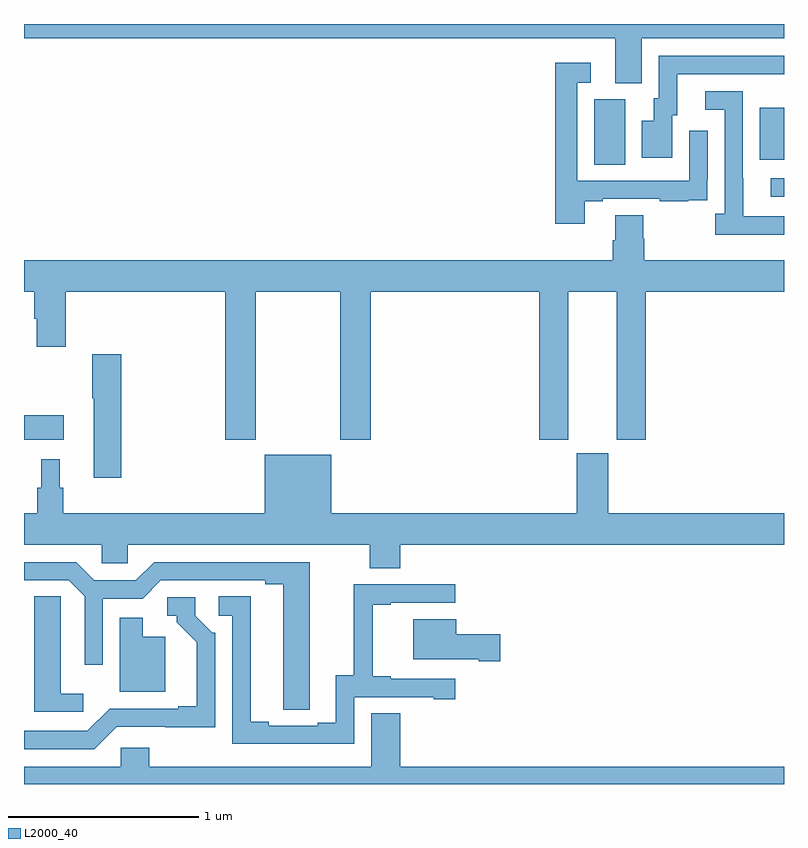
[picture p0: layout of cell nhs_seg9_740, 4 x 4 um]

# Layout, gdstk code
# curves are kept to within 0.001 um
import gdstk
lib = gdstk.Library(unit=1e-6, precision=1e-09)
def R(c, l, rs):  # rectangles x0, y0, x1, y1
    for r in rs: c.add(gdstk.rectangle(r[:2], r[2:], *l))
def P(c, l, *ps):  # polygons
    for p in ps: c.add(gdstk.Polygon(p, *l))
L2000_40 = (2000, 40)

nhs_seg9_740 = lib.new_cell('nhs_seg9_740')
R(nhs_seg9_740, L2000_40, [(149,1190.312,149.209,1190.442), (152.931,1191.591,153,1191.687), (152,1191.76,152.164,1192.104), (152.873,1191.785,153,1192.06)])
P(nhs_seg9_740, L2000_40, [(152.251,1192.424),(153,1192.424),(153,1192.5),(149,1192.5),(149,1192.424),(152.111,1192.424),(152.111,1192.189),(152.251,1192.189)],
  [(152.413,1192.02),(152.437,1192.02),(152.437,1192.236),(153,1192.236),(153,1192.332),(152.34,1192.332),(152.34,1192.11),(152.315,1192.11),(152.315,1191.991),(152.252,1191.991),(152.252,1191.795),(152.413,1191.795)],
  [(151.951,1191.567),(152.047,1191.567),(152.047,1191.579),(152.347,1191.579),(152.347,1191.567),(152.495,1191.567),(152.495,1191.573),(152.597,1191.573),(152.597,1191.682),(152.598,1191.682),(152.598,1191.937),(152.502,1191.937),(152.502,1191.675),(151.911,1191.675),(151.911,1192.191),(151.984,1192.191),(151.984,1192.297),(151.795,1192.297),(151.795,1191.45),(151.951,1191.45)],
  [(153,1191.489),(152.785,1191.489),(152.785,1191.689),(152.784,1191.689),(152.784,1192.146),(152.586,1192.146),(152.586,1192.05),(152.688,1192.05),(152.688,1191.502),(152.637,1191.502),(152.637,1191.392),(153,1191.392)],
  [(150.219,1191.092),(150.664,1191.092),(150.664,1190.313),(150.824,1190.313),(150.824,1191.092),(151.712,1191.092),(151.712,1190.313),(151.864,1190.313),(151.864,1191.092),(152.12,1191.092),(152.12,1190.313),(152.273,1190.313),(152.273,1191.092),(153,1191.092),(153,1191.256),(152.264,1191.256),(152.264,1191.369),(152.259,1191.369),(152.259,1191.494),(152.111,1191.494),(152.111,1191.362),(152.099,1191.362),(152.099,1191.256),(149,1191.256),(149,1191.092),(149.054,1191.092),(149.054,1190.95),(149.066,1190.95),(149.066,1190.802),(149.219,1190.802),(149.219,1191.092),(150.059,1191.092),(150.059,1190.313),(150.219,1190.313)],
  [(149.513,1190.761),(149.359,1190.761),(149.359,1190.53),(149.366,1190.53),(149.366,1190.112),(149.513,1190.112)],
  [(150.98,1189.76),(153,1189.76),(153,1189.924),(152.074,1189.924),(152.074,1190.241),(151.91,1190.241),(151.91,1189.924),(150.616,1189.924),(150.616,1190.233),(150.266,1190.233),(150.266,1189.924),(149.207,1189.924),(149.207,1190.058),(149.188,1190.058),(149.188,1190.209),(149.09,1190.209),(149.09,1190.058),(149.071,1190.058),(149.071,1189.924),(149,1189.924),(149,1189.76),(149.409,1189.76),(149.409,1189.662),(149.547,1189.662),(149.547,1189.76),(150.82,1189.76),(150.82,1189.636),(150.98,1189.636)],
  [(150.504,1189),(150.505,1189.668),(149.685,1189.668),(149.589,1189.572),(149.371,1189.572),(149.275,1189.668),(149,1189.668),(149,1189.572),(149.235,1189.572),(149.319,1189.488),(149.319,1189.128),(149.415,1189.128),(149.415,1189.476),(149.625,1189.476),(149.721,1189.572),(150.269,1189.572),(150.269,1189.552),(150.365,1189.552),(150.365,1188.892),(150.504,1188.892)],
  [(150.738,1188.957),(151.157,1188.957),(151.157,1188.945),(151.27,1188.945),(151.27,1189.053),(150.931,1189.053),(150.931,1189.066),(150.836,1189.066),(150.836,1189.443),(150.931,1189.443),(150.931,1189.455),(151.27,1189.455),(151.27,1189.551),(150.736,1189.551),(150.736,1189.073),(150.641,1189.073),(150.641,1188.822),(150.545,1188.822),(150.545,1188.807),(150.289,1188.807),(150.289,1188.827),(150.193,1188.827),(150.193,1189.487),(150.024,1189.487),(150.024,1189.386),(150.096,1189.386),(150.096,1188.711),(150.738,1188.711)],
  [(149.311,1188.976),(149.194,1188.976),(149.194,1189.379),(149.193,1189.379),(149.193,1189.487),(149.054,1189.487),(149.054,1188.879),(149.311,1188.879)],
  [(149.487,1188.801),(150.006,1188.8),(150.006,1189.296),(149.991,1189.296),(149.901,1189.386),(149.901,1189.482),(149.754,1189.482),(149.754,1189.386),(149.804,1189.386),(149.804,1189.351),(149.909,1189.246),(149.909,1188.91),(149.813,1188.91),(149.813,1188.897),(149.451,1188.897),(149.334,1188.78),(149,1188.78),(149,1188.684),(149.37,1188.684)],
  [(149.743,1189.276),(149.626,1189.276),(149.626,1189.375),(149.504,1189.375),(149.504,1188.986),(149.743,1188.986)],
  [(151.507,1189.287),(151.276,1189.287),(151.276,1189.366),(151.049,1189.366),(151.049,1189.157),(151.394,1189.157),(151.394,1189.145),(151.507,1189.145)],
  [(153,1188.592),(150.98,1188.592),(150.98,1188.872),(150.827,1188.872),(150.827,1188.592),(149.66,1188.592),(149.66,1188.69),(149.508,1188.69),(149.508,1188.592),(149,1188.592),(149,1188.5),(153,1188.5)])

lib.write_gds('nhs_seg9_740.gds')
